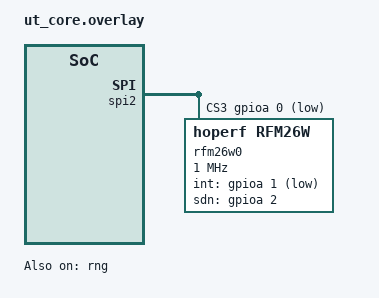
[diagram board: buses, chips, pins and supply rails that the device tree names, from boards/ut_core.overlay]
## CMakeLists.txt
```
cmake_minimum_required(VERSION 3.20.0)

set(BOARD ut_core)

# The RFM26W radio driver is an out-of-tree Zephyr module that lives in this app.
list(APPEND EXTRA_ZEPHYR_MODULES ${CMAKE_CURRENT_SOURCE_DIR}/drivers/rfm26w)

find_package(Zephyr REQUIRED HINTS $ENV{ZEPHYR_BASE})
project(comms_main)

# COMMS_MODULE_SOURCES: shared with the host tests (apps/tests/commsTest)
include(${CMAKE_CURRENT_SOURCE_DIR}/src/modules.cmake)

target_sources(app PRIVATE
    src/main.c
    ${COMMS_MODULE_SOURCES}
    ${COMMS_TARGET_ONLY_SOURCES}
    $ENV{ROOT}/common/can_proto.c)
target_include_directories(app PRIVATE ${CMAKE_CURRENT_SOURCE_DIR}/src $ENV{ROOT})

add_subdirectory($ENV{ROOT}/common ${CMAKE_BINARY_DIR}/common)
target_link_libraries(app PRIVATE common)
```

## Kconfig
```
# COMMS application options
#
# The options of the superseded firmware (self-test, dev key, radio stub, FRAM, compression stub) are gone,
# and new ones are added by the stage that uses them (see PLANNED.md):
#   stage 3: per-test switches for the MVP bench tests (the TLM switch comes with stage 3b)
#   stage 4: development key, key size

mainmenu "UT-CORE COMMS"

menu "COMMS MVP bench tests"

config COMMS_MVP_PING
	bool "PING test: answer ping requests (APID 0x0F0)"
	default y
	help
	  When off, ping requests are counted and dropped, as if the board did not know the APID.

config COMMS_MVP_CAN_CMD
	bool "CAN_CMD test: put uplinked command records on the CAN bus (APID 0x010)"
	default y
	help
	  When off, command packets are counted and dropped. Records that are on can still only get
	  through the allowlist in src/can/uplink_policy.c.

endmenu

source "Kconfig.zephyr"
```

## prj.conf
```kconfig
# PLACEHOLDER: copied from CDH. COMMS hardware is still being designed; adjust as concrete data comes in.
CONFIG_GPIO=y
CONFIG_CAN=y
CONFIG_CAN_STM32_FDCAN=y

# --- LOGGING & CONSOLE SETUP (RTT) ---
CONFIG_CONSOLE=y
CONFIG_STDOUT_CONSOLE=y
CONFIG_USE_SEGGER_RTT=y
CONFIG_RTT_CONSOLE=y
CONFIG_UART_CONSOLE=n
CONFIG_SERIAL=n
CONFIG_PRINTK=y
CONFIG_LOG=y
CONFIG_LOG_MODE_IMMEDIATE=y

CONFIG_NEWLIB_LIBC=y
CONFIG_NEWLIB_LIBC_FLOAT_PRINTF=y
CONFIG_MAIN_STACK_SIZE=4096

# --- SPI for the radio (settings copied from the tested apps/tests/spiFlashTest) ---
CONFIG_SPI=y
CONFIG_SPI_STM32=y
CONFIG_CACHE_MANAGEMENT=y
CONFIG_DMA=n
CONFIG_SPI_STM32_DMA=n

# --- CRC (link layer, stage 1) ---
CONFIG_CRC=y

# --- Encryption: STAGE 4 (SDLS). Not used yet. Kept so the tested PSA settings are not lost. ---
CONFIG_MBEDTLS=y
CONFIG_MBEDTLS_PSA_CRYPTO_C=y
CONFIG_PSA_WANT_ALG_GCM=y
CONFIG_PSA_WANT_KEY_TYPE_AES=y
CONFIG_ENTROPY_GENERATOR=y

# Lets stack headroom be measured per thread
CONFIG_THREAD_STACK_INFO=y
CONFIG_INIT_STACKS=y
```

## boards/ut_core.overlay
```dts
/* PLACEHOLDER: empty, as in CDH. COMMS hardware is still being designed; add overrides as concrete data comes in. */

/*
 * Hardware RNG for key generation / nonces (PSA Crypto).
 * HSI48 is disabled in ut_core-common.dtsi, but the RNG kernel clock
 * defaults to it, so enable it here and select it explicitly.
 * Move to the COMMS board .dts once that board exists.
 */
&clk_hsi48 {
	status = "okay";
};

&rng {
	status = "okay";
	clocks = <&rcc STM32_CLOCK(AHB2, 18)>,
		 <&rcc STM32_SRC_HSI48 RNG_SEL(0)>;
};

/*
 * [PLACEHOLDER] UHF radio node (RFM26W). The COMMS board does not exist yet. The chip select and pins below
 * are the same placeholders as apps/tests/rfm26wTest: chosen only because they are unused in ut_core.dts and
 * ut_core-common.dtsi. Replace them with the real COMMS wiring and move the node into the COMMS board
 * devicetree. Adding a fourth chip select means restating the whole cs-gpios list: the first three entries
 * are the existing FRAM chip selects from ut_core.dts.
 */
&spi2 {
	cs-gpios = <&gpiob 10 (GPIO_ACTIVE_LOW | GPIO_PULL_UP)>,
		   <&gpiob 8  (GPIO_ACTIVE_LOW | GPIO_PULL_UP)>,
		   <&gpiob 4  (GPIO_ACTIVE_LOW | GPIO_PULL_UP)>,
		   <&gpioa 0  (GPIO_ACTIVE_LOW | GPIO_PULL_UP)>; /* PLACEHOLDER: radio CS */

	rfm26w0: rfm26w@3 {
		compatible = "hoperf,rfm26w";
		reg = <3>;
		spi-max-frequency = <1000000>; /* PLACEHOLDER: the radio allows up to 10 MHz */
		int-gpios = <&gpioa 1 (GPIO_ACTIVE_LOW | GPIO_PULL_UP)>; /* PLACEHOLDER: nIRQ */
		sdn-gpios = <&gpioa 2 GPIO_ACTIVE_HIGH>;                 /* PLACEHOLDER: SDN */
		block-length = <223>;
		/*
		 * ASSUMPTION, MAY NEED ADJUSTING: 30 MHz crystal. Not confirmed for the module.
		 * If the module uses another crystal, or a TCXO (add `xo-tcxo;`), change this AND
		 * regenerate the radio profile (PLANNED.md section 5.4, "Regenerating the radio profile").
		 */
		xo-frequency-hz = <30000000>;
	};
};
```

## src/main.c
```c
/**
 * @defgroup comms COMMS
 * @ingroup apps
 * @brief Communications firmware
 *
 * @include{doc} ./apps/COMMS/README.md
 */

/**
 * @file main.c
 * @ingroup comms
 * @brief Entry point for COMMS firmware: init order, threads and queues
 *
 * UT-CORE COMMS: the satellite's link to the ground.
 *
 * Hardware: STM32U5 microcontroller, Zephyr RTOS.
 * Radio:    UHF RFM26W, driver in drivers/rfm26w, used only through ut/drivers/rfm26w.h.
 * Bus:      FDCAN to the shared CAN bus, 29-bit extended IDs (common/can_proto.h).
 *
 * This file is the front door: it says what runs, in what order and at what priority, and each
 * thread body is a few lines that move data between queues and call a module. It holds no protocol
 * logic. Parsing, framing, routing and policy live in the modules under src/ (link/, can/, and
 * app/, sec/, cfdp/ as the stages add them). Those take buffers, return codes, have no threads and
 * no globals, and are unit-tested on the host (apps/tests/commsTest). Constants are in
 * comms_config.h (protocol) and board_config.h (hardware).
 *
 * Thread overview (highest to lowest priority; the radio driver's own work queue thread, priority
 * CONFIG_RFM26W_WORKQ_PRIORITY, sits above all of these):
 *   PRIO 0  watchdog     kick the hardware watchdog, never starve it          (stage 3, todo)
 *   PRIO 1  (unused)     there is no can_rx thread: the CAN driver's filters already buffer frames
 *                        into a queue (can_rx_q), which can_proc reads
 *   PRIO 2  can_proc     CAN frames for ground (board replies) -> downlink queue (stage 3a, running)
 *   PRIO 4  (unused)     there is no radio_rx thread: the driver's receive callback copies each
 *                        block straight into the uplink queue (app/radio_port)
 *   PRIO 5  uplink       tc_frame -> space packet -> router by APID           (stage 2, running)
 *   PRIO 6  radio_tx     sole owner of UHF transmit                           (stage 2, running)
 *   PRIO 7  beacon       periodic beacon                                      (stage 3, todo)
 *   PRIO 8  heartbeat    logs once a second, later statistics and scheduler   (stage 0, running)
 *
 * Data flow once stages 2 and 3 exist:
 *   Uplink    radio -> receive callback -> uplink: tc_frame_parse, sp_parse -> router (by APID)
 *                -> 0x010 commands: policy -> CAN bus     -> 0x0F0 ping: reply to the TX queue
 *   Downlink  CAN replies, telemetry, beacon, ping replies -> sp_build -> dl_block_pack -> radio_tx -> radio
 *
 * Init order (main): radio device check, CAN setup, radio start and configure, start receiving. The
 * threads are static and start themselves at boot; they only wait on their queues until main has run.
 *
 * Status: STAGE 3a. The uplink and downlink pipeline runs against the radio driver, answers PING
 * (0x0F0 -> 0x0F1), and bridges allowlisted commands (0x010) to the CAN bus, sending the board's answer
 * down on 0x020. There is no telemetry cache, TLM, beacon, scheduler or watchdog yet (stage 3b). Each stage adds its
 * threads to this file and its modules to src/modules.cmake.
 *
 * Docs: PROTOCOL.md (wire format), README.md (overview, architecture), PLANNED.md (stages, next
 * steps, open items).
 */

#include <zephyr/kernel.h>
#include <zephyr/logging/log.h>

#include "app/downlink.h"
#include "can/can_bridge.h"
#include "app/radio_port.h"
#include "app/uplink.h"
#include "board_config.h"
#include "comms_config.h"
#include "common/can_proto.h"

/** @cond */ /* Hidden from Doxygen, or it will mistake this as a function */
LOG_MODULE_REGISTER(comms, LOG_LEVEL_INF);
/** @endcond */

/* The block length is a protocol constant and also a property of the radio node. They must agree. */
BUILD_ASSERT(DT_PROP(RADIO_NODE, block_length) == COMMS_BLOCK_LEN,
	     "radio node block-length must equal COMMS_BLOCK_LEN in comms_config.h");

static const struct device *const can_dev = DEVICE_DT_GET(CAN_NODE);
static const struct device *const radio = DEVICE_DT_GET(RADIO_NODE);

/** Frames from the CAN driver, read by can_proc. */
K_MSGQ_DEFINE(can_rx_q, sizeof(struct can_frame), CAN_RX_Q_LEN, 4);

/** Blocks from the radio to the uplink thread, and packets from everyone to the transmit thread. */
K_MSGQ_DEFINE(uplink_q, COMMS_BLOCK_LEN, UPLINK_Q_LEN, 1);
K_MSGQ_DEFINE(tx_q, sizeof(struct dl_item), TX_Q_LEN, 4);

static struct radio_port radio_port;
static struct downlink downlink;
static struct uplink uplink;
static struct router router;
static struct can_bridge can_bridge;

/** Next `tlm_counter` value, shared by the CAN replies now and the periodic telemetry in stage 3b. */
static atomic_t tlm_counter;

static void uplink_thread(void *a, void *b, void *c)
{
	ARG_UNUSED(a);
	ARG_UNUSED(b);
	ARG_UNUSED(c);

	for (;;) {
		(void)uplink_service_one(&uplink, K_FOREVER);
	}
}
K_THREAD_DEFINE(uplink_tid, STACK_UPLINK, uplink_thread, NULL, NULL, NULL, PRIO_UPLINK, 0, 0);

static void radio_tx_thread(void *a, void *b, void *c)
{
	ARG_UNUSED(a);
	ARG_UNUSED(b);
	ARG_UNUSED(c);

	for (;;) {
		(void)downlink_service_one(&downlink, K_FOREVER);
	}
}
K_THREAD_DEFINE(radio_tx_tid, STACK_RADIO_TX, radio_tx_thread, NULL, NULL, NULL, PRIO_RADIO_TX, 0, 0);

/** Frames addressed to ground (the boards' answers) become telemetry packets. Other frames are ignored
 *  until the telemetry cache exists (stage 3b). */
static void can_proc_thread(void *a, void *b, void *c)
{
	struct can_frame frame;
	struct dl_item item;

	ARG_UNUSED(a);
	ARG_UNUSED(b);
	ARG_UNUSED(c);

	for (;;) {
		k_msgq_get(&can_rx_q, &frame, K_FOREVER);
		if (can_bridge_on_frame(&can_bridge, &frame, &item) == 1) {
			(void)downlink_submit(&downlink, &item);
		}
	}
}
K_THREAD_DEFINE(can_proc_tid, STACK_CAN_PROC, can_proc_thread, NULL, NULL, NULL, PRIO_CAN_PROC, 0, 0);

/** Heartbeat log, so a stage 0 build visibly runs. Becomes the scheduler thread in stage 3. */
static void heartbeat_thread(void *a, void *b, void *c)
{
	ARG_UNUSED(a);
	ARG_UNUSED(b);
	ARG_UNUSED(c);

	for (;;) {
		LOG_INF("alive, uptime %u s", k_uptime_get_32() / 1000U);
		k_msleep(HEARTBEAT_INTERVAL_MS);
	}
}
K_THREAD_DEFINE(heartbeat_tid, STACK_SIZE, heartbeat_thread, NULL, NULL, NULL, PRIO_SCHED, 0, 0);

int main(void)
{
	int err;

	LOG_INF("UT-CORE COMMS booting (stage 3a, see PLANNED.md)");

	radio_port_init(&radio_port, radio, &uplink_q);
	downlink_init(&downlink, &tx_q, &radio_port);
	can_bridge_init(&can_bridge, can_dev, &tlm_counter);
	router_init(&router, &can_bridge,
		    (struct mvp_switches){
			    .ping = IS_ENABLED(CONFIG_COMMS_MVP_PING),
			    .can_cmd = IS_ENABLED(CONFIG_COMMS_MVP_CAN_CMD),
		    });
	uplink_init(&uplink, &uplink_q, &downlink, &router);

	if (!device_is_ready(radio)) {
		LOG_ERR("radio device not ready");
	} else {
		const struct rfm26w_config radio_cfg = {
			.frequency_hz = COMMS_RADIO_FREQ_HZ,
			.tx_power_dbm = COMMS_RADIO_TX_DBM,
			.profile = RFM26W_PROFILE_GFSK_9K6,
		};

		err = rfm26w_start(radio);
		if (!err) {
			err = rfm26w_configure(radio, &radio_cfg);
		}
		if (!err) {
			err = radio_port_start(&radio_port);
		}
		if (err) {
			LOG_ERR("radio start failed: %d", err);
		}
	}

	err = can_setup(can_dev, NODE_ID, &can_rx_q, NULL);
	if (err) {
		LOG_ERR("CAN setup failed: %d", err);
	} else {
		/* can_setup() filters on this node and broadcast only. The boards' answers are addressed to
		 * ground. */
		err = can_bridge_add_ground_filter(can_dev, &can_rx_q);
		if (err) {
			LOG_ERR("CAN ground filter failed: %d", err);
		}
	}

	return 0;
}
```

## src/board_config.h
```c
/**
 * @file board_config.h
 * @ingroup comms
 * @brief UT-CORE COMMS: hardware configuration (devicetree nodes, pins, thread priorities, queue sizes)
 *
 * Hardware only. Protocol constants (block length, spacecraft ID, GROUND_ID, callsign) are in
 * comms_config.h.
 *
 * @warning PLACEHOLDER VALUES. The COMMS board is still being designed. The pins below were copied
 *          from the CDH board and are almost certainly wrong for COMMS. Everything marked
 *          [PLACEHOLDER] must be revisited when the schematic is final. PLANNED.md section 4 keeps the list.
 */

#pragma once

#include <zephyr/device.h>
#include <zephyr/devicetree.h>
#include <zephyr/drivers/can.h>
#include <zephyr/drivers/gpio.h>

#include "common/can_proto.h"

/* ================= Node identity ================= */

#define NODE_ID  COMMS_ID /**< This board's CAN node address (defined in can_proto.h). */
#define PRIO_LOW 3        /**< [PLACEHOLDER] Default CAN arbitration priority for outbound frames. */

/* ================= Devicetree nodes ================= */

#define CAN_NODE   DT_NODELABEL(fdcan1) /**< [PLACEHOLDER] FDCAN1, copied from CDH. */
#define RADIO_NODE DT_NODELABEL(rfm26w0) /**< The UHF radio. The node is a placeholder (see boards/ut_core.overlay). */

/* ================= GPIO pins ================= */

/** [PLACEHOLDER] copied from CDH, almost certainly wrong for COMMS. Not used until stage 3. */
#define PIN_SILENT   9  /**< CAN transceiver silent-mode control (active high). */
#define PIN_SHDN     10 /**< CAN transceiver shutdown control (active high). */
#define WATCHDOG_PIN 2  /**< Hardware watchdog kick pin. */

/* ================= Thread priorities =================
 *
 * Lower number is more urgent. The radio driver has its own work queue thread, whose priority is
 * CONFIG_RFM26W_WORKQ_PRIORITY (default 1). FIFO streaming has a deadline of a few milliseconds at the
 * higher data rates, so nothing that can hold the CPU for longer than that may run above it.
 * Only threads marked "stage 0" exist so far. See README.md for the thread table.
 */
#define PRIO_WATCHDOG 0 /**< Hardware watchdog kick. Never starve it. (stage 3) */
#define PRIO_CAN_RX   1 /**< Drain the CAN hardware FIFO. (stage 3) */
#define PRIO_CAN_PROC 2 /**< Decode and dispatch CAN frames. (stage 3) */
#define PRIO_RADIO_RX 4 /**< Radio block to uplink queue. (stage 2) */
#define PRIO_UPLINK   5 /**< TC frame check, packet routing. (stage 2) */
#define PRIO_RADIO_TX 6 /**< Sole owner of UHF transmit. (stage 2) */
#define PRIO_BEACON   7 /**< Periodic beacon. (stage 3) */
#define PRIO_SCHED    8 /**< Heartbeat and statistics. (stage 0) */

/** [PLACEHOLDER] Stack sizes. Measure with CONFIG_THREAD_STACK_INFO before trusting them. */
#define STACK_SIZE    1024
#define STACK_UPLINK  3072
#define STACK_RADIO_TX 2048
#define STACK_CAN_PROC 2048

/* ================= Timing ================= */

#define WATCHDOG_KICK_MS      15    /**< [PLACEHOLDER] Must be below half the hardware watchdog timeout. */
#define HEARTBEAT_INTERVAL_MS 1000  /**< Heartbeat log (and, from stage 3, heartbeat to CDH). */
#define STATS_LOG_INTERVAL_MS 10000 /**< How often the counters are logged. */

/* ================= Queues ================= */

#define CAN_RX_Q_LEN 32 /**< [PLACEHOLDER] Frames waiting between the CAN driver and the processing thread. */
#define UPLINK_Q_LEN 4  /**< Blocks waiting for the uplink thread. (stage 2) */
#define TX_Q_LEN     4  /**< Blocks waiting for the transmit thread. (stage 2) */
```

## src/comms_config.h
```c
/**
 * @file comms_config.h
 * @ingroup comms
 * @brief COMMS protocol constants, and the single home of every protocol placeholder
 *
 * Wire-format limits come from PROTOCOL.md. Anything marked PLACEHOLDER is a value somebody still has to
 * decide, and is listed in PLANNED.md section 4 ("Placeholders and assumptions"). Change it here and nowhere else.
 */
#ifndef COMMS_CONFIG_H_
#define COMMS_CONFIG_H_

/* ---- Link block (PROTOCOL.md section 3) ---- */

/** Every block on the air is exactly this many bytes, both directions. Must equal the radio node's
 *  `block-length` (checked by BUILD_ASSERT in main.c). It is the data size of a Reed-Solomon (255,223)
 *  codeword, so adding Reed-Solomon later does not change it. */
#define COMMS_BLOCK_LEN 223

/** How long a send may take before the port gives up: the air time of one block is about 203 ms at
 *  9.6 kb/s, and a block already being received is waited for first (open item 22). */
#define COMMS_RADIO_SEND_TIMEOUT_MS 1000

/** PLACEHOLDER: carrier frequency, 433.92 MHz (the one the sample WDS header was made for). The bench
 *  frequency is not chosen and the module's band variant is unconfirmed (open item 18). */
#define COMMS_RADIO_FREQ_HZ 433920000U

/** PLACEHOLDER: transmit power in dBm. The bench test uses the minimum (PLANNED.md section 4). */
#define COMMS_RADIO_TX_DBM (-40)

/* ---- Uplink: TC Transfer Frame (PROTOCOL.md section 4) ---- */

#define COMMS_TC_HDR_LEN  5 /**< TC primary header. */
#define COMMS_TC_FECF_LEN 2 /**< Frame error control field (CRC-16). */

/** Largest Space Packet in a TC frame with no security (the MVP profile): 223 - 5 - 2. */
#define COMMS_UL_MAX_PACKET_CLEAR (COMMS_BLOCK_LEN - COMMS_TC_HDR_LEN - COMMS_TC_FECF_LEN)

/** PLACEHOLDER: the CCSDS-assigned spacecraft ID (10 bits). Not assigned yet (PROTOCOL.md section 4,
 *  open item 11). Any value works for bench testing as long as ground uses the same one. */
#define COMMS_TC_SCID 0x0A5

/** Virtual channel ID of the uplink (6 bits). PROTOCOL.md section 4: one channel, value 0. */
#define COMMS_TC_VCID 0

/* ---- Downlink block (PROTOCOL.md section 3) ---- */

#define COMMS_DL_LEN_FIELD 2 /**< Length of the leading `len` field. */
#define COMMS_DL_CRC_LEN   2 /**< Trailing CRC-16. */

/** Largest Space Packet in a downlink block: 223 - 2 - 2. */
#define COMMS_DL_MAX_PACKET (COMMS_BLOCK_LEN - COMMS_DL_LEN_FIELD - COMMS_DL_CRC_LEN)

/* ---- Space Packet (PROTOCOL.md section 6) ---- */

#define COMMS_SP_HDR_LEN 6 /**< Space Packet primary header. */

/** A Space Packet has at least one data field byte, so at least 7 bytes. */
#define COMMS_SP_MIN_PACKET (COMMS_SP_HDR_LEN + 1)

/* ---- Addressing (PROTOCOL.md sections 6 and 7) ---- */

/** PLACEHOLDER: CAN arbitration priority (0 = highest) that COMMS forces onto every record it puts on the
 *  bus for ground, whatever priority ground wrote, so ground cannot win arbitration over flight traffic.
 *  Same value as PRIO_LOW in board_config.h. */
#define COMMS_CAN_UPLINK_PRIO 3

/** How long a CAN send may wait for a free transmit mailbox before it is counted as an error. */
#define COMMS_CAN_SEND_TIMEOUT_MS 10

/* The ground station's CAN node ID is GROUND_ID in common/can_proto.h (0x10). Every board must accept
 * commands from that source. */


/** PLACEHOLDER: callsign (6 characters, space padded) and SSID for the downlink secondary header.
 *  Real callsign not available yet (open item 3). */
#define COMMS_CALLSIGN "NOCALL"
#define COMMS_SSID     0

/** PLACEHOLDER: 1 would put the callsign in a secondary header on every downlink packet, which shrinks the
 *  downlink data field from 213 to 206 bytes (open item 3). Not implemented: the callsign is not transmitted
 *  yet, and this flag is not read by any code. It marks the decision that is still open. */
#define COMMS_CALLSIGN_IN_PACKETS 0

#endif /* COMMS_CONFIG_H_ */
```
